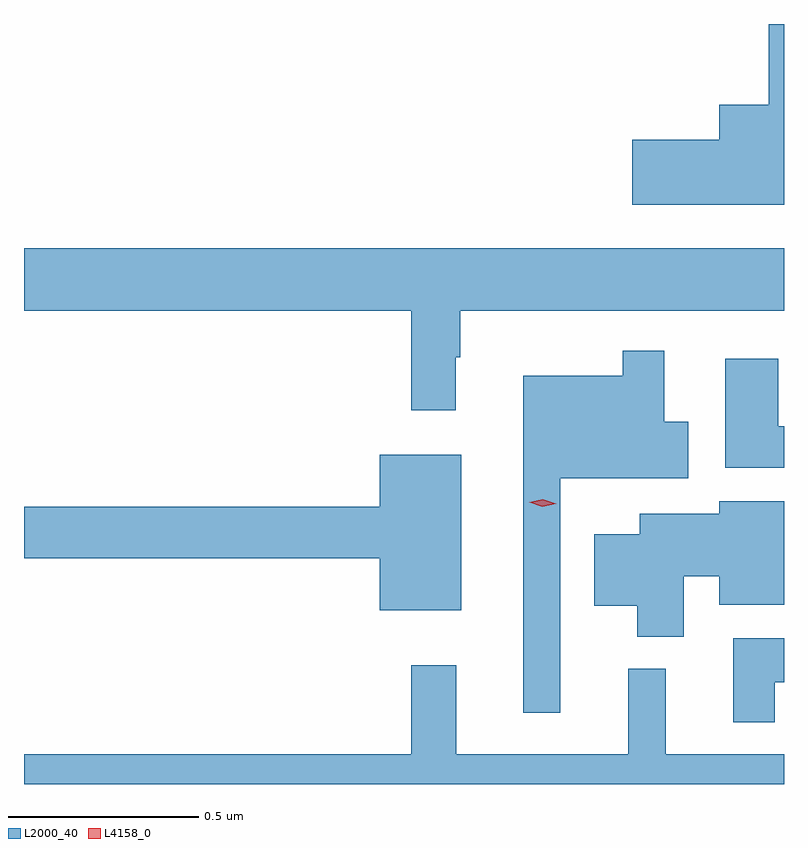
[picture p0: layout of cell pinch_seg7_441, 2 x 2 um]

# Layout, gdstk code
import gdstk
lib = gdstk.Library(unit=1e-6, precision=1e-09)
def P(c, l, *ps):  # polygons
    for p in ps: c.add(gdstk.Polygon(p, *l))
L2000_40 = (2000, 40)
L4158_0 = (4158, 0)

pinch_seg7_441 = lib.new_cell('pinch_seg7_441')
P(pinch_seg7_441, L2000_40, [(337.138,1055.982),(337.098,1055.982),(337.098,1055.77),(336.968,1055.77),(336.968,1055.678),(336.738,1055.678),(336.738,1055.507),(337.138,1055.507)],
  [(336.274,1055.105),(336.286,1055.105),(336.286,1055.228),(337.138,1055.228),(337.138,1055.392),(335.138,1055.392),(335.138,1055.228),(336.157,1055.228),(336.157,1054.965),(336.274,1054.965)],
  [(336.549,1054.787),(336.886,1054.787),(336.886,1054.935),(336.823,1054.935),(336.823,1055.122),(336.714,1055.122),(336.714,1055.056),(336.452,1055.056),(336.452,1054.17),(336.549,1054.17)],
  [(337.138,1054.924),(337.123,1054.924),(337.123,1055.101),(336.983,1055.101),(336.983,1054.814),(337.138,1054.814)],
  [(336.289,1054.849),(336.074,1054.849),(336.074,1054.712),(335.138,1054.712),(335.138,1054.576),(336.074,1054.576),(336.074,1054.439),(336.289,1054.439)],
  [(336.874,1054.529),(336.968,1054.529),(336.968,1054.454),(337.138,1054.454),(337.138,1054.726),(336.968,1054.726),(336.968,1054.693),(336.758,1054.693),(336.758,1054.639),(336.638,1054.639),(336.638,1054.451),(336.752,1054.451),(336.752,1054.37),(336.874,1054.37)],
  [(337.114,1054.25),(337.138,1054.25),(337.138,1054.366),(337.004,1054.366),(337.004,1054.145),(337.114,1054.145)],
  [(337.138,1054.06),(336.827,1054.06),(336.827,1054.285),(336.728,1054.285),(336.728,1054.06),(336.275,1054.06),(336.275,1054.294),(336.157,1054.294),(336.157,1054.06),(335.138,1054.06),(335.138,1053.982),(337.138,1053.982)])
P(pinch_seg7_441, L4158_0, [(336.502,1054.711),(336.467,1054.723),(336.467,1054.723),(336.467,1054.723),(336.503,1054.731),(336.538,1054.719),(336.538,1054.719),(336.538,1054.719)])

lib.write_gds('pinch_seg7_441.gds')
